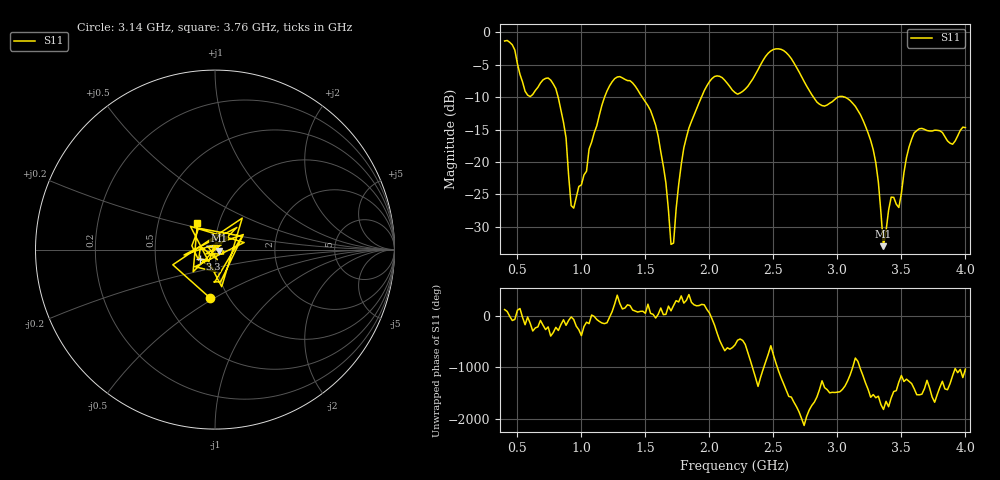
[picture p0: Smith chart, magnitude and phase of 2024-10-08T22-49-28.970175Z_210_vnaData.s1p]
! Created with skrf (http://scikit-rf.org).
# Hz S RI R 50.0
!freq ReS11 ImS11
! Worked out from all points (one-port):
!   181 points, 400 MHz to 4 GHz, reference 50 ohm
!   lowest |S11| = -33.0 dB at 3.36 GHz (marker M1), VSWR 1.05, Z = 52.2 - j0.683 ohm
!   |S11| at or under -10 dB: 818.4 MHz to 1.18 GHz (362.1 MHz wide, 36.2 % of centre); 1.476 GHz to 1.938 GHz (462.3 MHz wide, 27.1 % of centre); 3.06 GHz to end of sweep (the widest 3 of 4)
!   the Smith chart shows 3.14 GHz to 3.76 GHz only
!   S11 on the Smith chart (normalised r, x): 3.14 GHz: 0.82, -0.47; 3.3 GHz: 0.84, -0.09; 3.76 GHz: 0.79, +0.24
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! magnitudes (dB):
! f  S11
! 400 MHz  -1.3
! 580 MHz  -9.7
! 760 MHz  -7.4
! 860 MHz  -13.9
! 920 MHz  -26.7
! 940 MHz  -27.1
! 1.18 GHz  -10.0
! 1.3 GHz  -6.8
! 1.58 GHz  -14.3
! 1.66 GHz  -23.2
! 1.7 GHz  -32.7
! 1.72 GHz  -32.5
! 1.76 GHz  -23.5
! 1.84 GHz  -14.8
! 1.98 GHz  -8.3
! 2.2 GHz  -9.3
! 2.5 GHz  -2.6
! 2.66 GHz  -4.7
! 2.86 GHz  -11.1
! 3.1 GHz  -10.5
! 3.14 GHz  -11.4
! 3.3 GHz  -20.1
! 3.36 GHz  -33.0
! 3.42 GHz  -25.4
! 3.48 GHz  -27.0
! 3.56 GHz  -17.7
! 3.76 GHz  -15.1
! 4 GHz  -14.7
